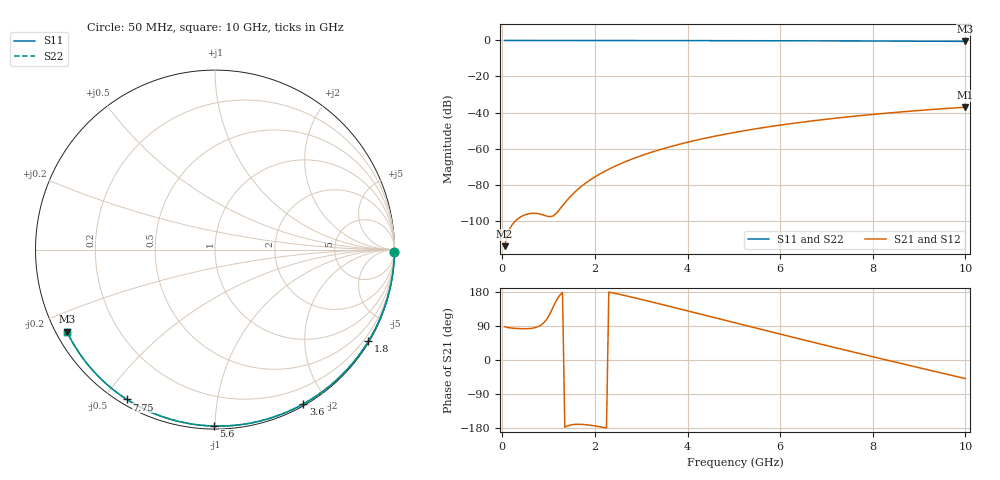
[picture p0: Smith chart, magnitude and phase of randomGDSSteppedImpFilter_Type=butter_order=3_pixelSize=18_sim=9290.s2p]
! freq	dB(S11)	phase(S11)	dB(S12)	phase(S12)
!  dB(S21)	phase(S21)	dB(S22)	phase(S22)
!S-par simulation data
#  GHz  S  DB  R 50
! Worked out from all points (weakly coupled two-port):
!   200 points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, 50 MHz to 10 GHz, reference 50 ohm
!   highest |S21| = -37.06 dB at 10 GHz (marker M1); lowest = -114.2 dB at 50 MHz (marker M2)
!   lowest |S11| = -0.5 dB at 10 GHz (marker M3), VSWR 34.21, Z = 1.56 - j12.9 ohm
!   |S11| at or under -10 dB: nowhere
!   |S22| runs from -0.5 to 0.0 dB; largest |S21 - S12| = 0
!   S11 on the Smith chart (normalised r, x): 50 MHz: open; 1.8 GHz: 0.03, -3.62; 3.6 GHz: 0.02, -1.73; 5.6 GHz: 0.02, -0.99; 7.75 GHz: 0.02, -0.57; 10 GHz: 0.03, -0.26
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0.05  -0.00 -0.9  -114.20 87.8  -114.20 87.8  -0.00 -0.9
0.45  -0.01 -7.8  -97.22 82.5  -97.22 82.5  -0.01 -7.8
0.9  -0.02 -15.6  -97.00 98.8  -97.00 98.8  -0.02 -15.6
1.3  -0.03 -22.4  -91.74 178.2  -91.74 178.2  -0.03 -22.4
1.75  -0.04 -30.0  -80.16 -170.2  -80.16 -170.2  -0.04 -30.0
1.8  -0.04 -30.9  -79.19 -170.7  -79.19 -170.7  -0.04 -30.9
1.95  -0.04 -33.4  -76.55 -173.0  -76.55 -173.0  -0.04 -33.4
2.1  -0.05 -35.9  -74.23 -176.0  -74.23 -176.0  -0.05 -35.9
2.3  -0.05 -39.2  -71.47 179.3  -71.47 179.3  -0.05 -39.2
2.5  -0.05 -42.5  -69.04 174.1  -69.04 174.1  -0.05 -42.5
2.9  -0.06 -49.0  -64.88 162.8  -64.88 162.8  -0.06 -49.0
3.4  -0.08 -57.0  -60.64 148.0  -60.64 148.0  -0.08 -57.0
3.6  -0.08 -60.2  -59.16 141.9  -59.16 141.9  -0.08 -60.2
4.3  -0.10 -71.0  -54.72 120.4  -54.72 120.4  -0.10 -71.0
5.05  -0.13 -82.3  -50.89 97.3  -50.89 97.3  -0.13 -82.3
5.6  -0.15 -90.4  -48.53 80.5  -48.53 80.5  -0.15 -90.4
6.15  -0.18 -98.3  -46.46 63.8  -46.46 63.8  -0.18 -98.3
6.7  -0.21 -106.0  -44.63 47.2  -44.63 47.2  -0.21 -106.0
7.75  -0.28 -120.4  -41.68 16.0  -41.68 16.0  -0.28 -120.4
8.35  -0.33 -128.6  -40.25 -1.6  -40.25 -1.6  -0.33 -128.6
9.2  -0.41 -140.1  -38.48 -26.2  -38.48 -26.2  -0.41 -140.1
10  -0.51 -151.0  -37.06 -49.0  -37.06 -49.0  -0.51 -151.0
